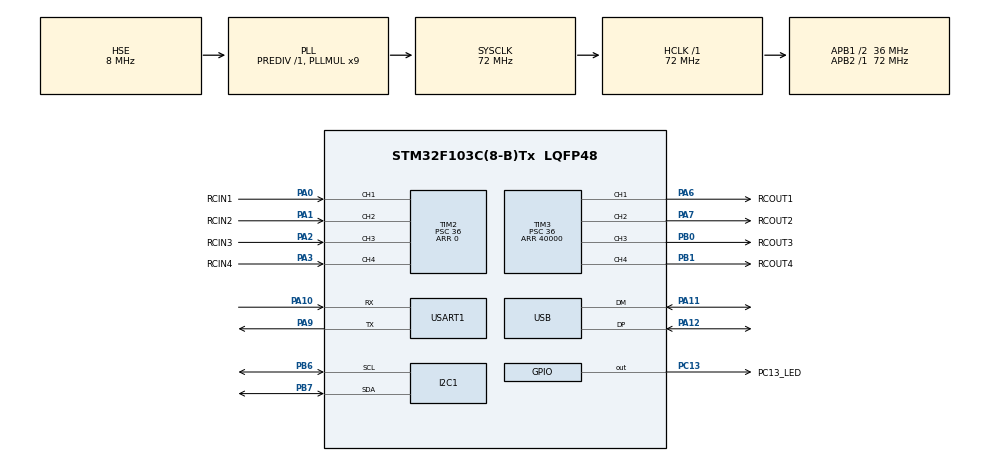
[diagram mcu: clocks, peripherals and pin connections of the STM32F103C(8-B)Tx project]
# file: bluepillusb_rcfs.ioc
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FREERTOS.Tasks01=defaultTask,24,128,StartDefaultTask,Default,NULL,Dynamic,NULL,NULL
I2C1.I2C_Mode=I2C_Fast
I2C1.OwnAddress=0x54
Mcu.Family=STM32F1
Mcu.Name=STM32F103C(8-B)Tx
Mcu.Package=LQFP48
NVIC.I2C1_ER_IRQn=true\:5\:0\:false\:false\:true\:true\:true\:true
NVIC.I2C1_EV_IRQn=true\:5\:0\:false\:false\:true\:true\:true\:true
NVIC.PriorityGroup=NVIC_PRIORITYGROUP_4
NVIC.TIM2_IRQn=true\:5\:0\:false\:false\:true\:true\:true\:true
NVIC.TIM4_IRQn=true\:0\:0\:false\:false\:true\:false\:false\:true
NVIC.TimeBase=TIM4_IRQn
NVIC.TimeBaseIP=TIM4
NVIC.USART1_IRQn=true\:5\:0\:false\:false\:true\:true\:true\:true
NVIC.USB_HP_CAN1_TX_IRQn=true\:5\:0\:false\:false\:true\:true\:true\:true
NVIC.USB_LP_CAN1_RX0_IRQn=true\:5\:0\:false\:false\:true\:true\:true\:true
PA0-WKUP.GPIO_Label=RCIN1
PA0-WKUP.Signal=S_TIM2_CH1_ETR
PA1.GPIO_Label=RCIN2
PA1.Signal=S_TIM2_CH2
PA10.Mode=Asynchronous
PA10.Signal=USART1_RX
PA11.Mode=Device
PA11.Signal=USB_DM
PA12.Mode=Device
PA12.Signal=USB_DP
PA13.Mode=Serial_Wire
PA13.Signal=SYS_JTMS-SWDIO
PA14.Mode=Serial_Wire
PA14.Signal=SYS_JTCK-SWCLK
PA2.GPIO_Label=RCIN3
PA2.Signal=S_TIM2_CH3
PA3.GPIO_Label=RCIN4
PA3.Signal=S_TIM2_CH4
PA6.GPIO_Label=RCOUT1
PA6.Signal=S_TIM3_CH1
PA7.GPIO_Label=RCOUT2
PA7.Signal=S_TIM3_CH2
PA9.Mode=Asynchronous
PA9.Signal=USART1_TX
PB0.GPIO_Label=RCOUT3
PB0.Signal=S_TIM3_CH3
PB1.GPIO_Label=RCOUT4
PB1.Signal=S_TIM3_CH4
PB6.Mode=I2C
PB6.Signal=I2C1_SCL
PB7.Mode=I2C
PB7.Signal=I2C1_SDA
PC13-TAMPER-RTC.GPIO_Label=PC13_LED
PC13-TAMPER-RTC.Signal=GPIO_Output
PC14-OSC32_IN.Mode=LSE-External-Oscillator
PC14-OSC32_IN.Signal=RCC_OSC32_IN
PC15-OSC32_OUT.Mode=LSE-External-Oscillator
PC15-OSC32_OUT.Signal=RCC_OSC32_OUT
PD0-OSC_IN.Mode=HSE-External-Oscillator
PD0-OSC_IN.Signal=RCC_OSC_IN
PD1-OSC_OUT.Mode=HSE-External-Oscillator
PD1-OSC_OUT.Signal=RCC_OSC_OUT
ProjectManager.HeapSize=0x200
ProjectManager.StackSize=0x400
ProjectManager.TargetToolchain=Makefile
RCC.ADCPresc=RCC_ADCPCLK2_DIV6
RCC.AHBFreq_Value=72000000
RCC.APB1CLKDivider=RCC_HCLK_DIV2
RCC.APB1Freq_Value=36000000
RCC.APB1TimFreq_Value=72000000
RCC.APB2Freq_Value=72000000
RCC.APB2TimFreq_Value=72000000
RCC.HCLKFreq_Value=72000000
RCC.PLLMUL=RCC_PLL_MUL9
RCC.SYSCLKFreq_VALUE=72000000
RCC.SYSCLKSource=RCC_SYSCLKSOURCE_PLLCLK
RCC.USBFreq_Value=48000000
RCC.USBPrescaler=RCC_USBCLKSOURCE_PLL_DIV1_5
SH.S_TIM2_CH1_ETR.0=TIM2_CH1,Input_Capture1_from_TI1
SH.S_TIM2_CH2.0=TIM2_CH2,Input_Capture2_from_TI2
SH.S_TIM2_CH3.0=TIM2_CH3,Input_Capture3_from_TI3
SH.S_TIM2_CH4.0=TIM2_CH4,Input_Capture4_from_TI4
SH.S_TIM3_CH1.0=TIM3_CH1,PWM Generation1 CH1
SH.S_TIM3_CH2.0=TIM3_CH2,PWM Generation2 CH2
SH.S_TIM3_CH3.0=TIM3_CH3,PWM Generation3 CH3
SH.S_TIM3_CH4.0=TIM3_CH4,PWM Generation4 CH4
TIM2.Channel-Input_Capture1_from_TI1=TIM_CHANNEL_1
TIM2.Channel-Input_Capture2_from_TI2=TIM_CHANNEL_2
TIM2.Channel-Input_Capture3_from_TI3=TIM_CHANNEL_3
TIM2.Channel-Input_Capture4_from_TI4=TIM_CHANNEL_4
TIM2.ICFilter_CH1=7
TIM2.ICFilter_CH2=7
TIM2.ICFilter_CH3=7
TIM2.ICFilter_CH4=7
TIM2.Period=0
TIM2.Prescaler=36
TIM3.Channel-PWM\ Generation1\ CH1=TIM_CHANNEL_1
TIM3.Channel-PWM\ Generation2\ CH2=TIM_CHANNEL_2
TIM3.Channel-PWM\ Generation3\ CH3=TIM_CHANNEL_3
TIM3.Channel-PWM\ Generation4\ CH4=TIM_CHANNEL_4
TIM3.Period=40000
TIM3.Prescaler=36
USART1.VirtualMode=VM_ASYNC
USB.low_power_enable=DISABLE
USB_DEVICE.CLASS_NAME_FS=CDC
USB_DEVICE.MANUFACTURER_STRING=NDN
USB_DEVICE.PRODUCT_STRING_CDC_FS=Bluepill ComPort
USB_DEVICE.VirtualMode=Cdc
USB_DEVICE.VirtualModeFS=Cdc_FS
VP_CRC_VS_CRC.Mode=CRC_Activate
VP_FREERTOS_VS_CMSIS_V2.Mode=CMSIS_V2
VP_RTC_VS_RTC_Activate.Mode=RTC_Enabled
VP_SYS_VS_tim4.Mode=TIM4
VP_TIM2_VS_ClockSourceINT.Mode=Internal
VP_TIM3_VS_ClockSourceINT.Mode=Internal
VP_USB_DEVICE_VS_USB_DEVICE_CDC_FS.Mode=CDC_FS
board=custom

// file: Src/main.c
/* USER CODE BEGIN Header */
/**
  ******************************************************************************
  * @file           : main.c
  * @brief          : Main program body
  ******************************************************************************
  * @attention
  *
  * <h2><center>&copy; Copyright (c) 2020 STMicroelectronics.
  * All rights reserved.</center></h2>
  *
  * This software component is licensed by ST under Ultimate Liberty license
  * SLA0044, the "License"; You may not use this file except in compliance with
  * the License. You may obtain a copy of the License at:
  *                             www.st.com/SLA0044
  *
  ******************************************************************************
  */
/* USER CODE END Header */

#include "main.h"
#include "cmsis_os.h"
#include "usb_device.h"
#include "usbd_cdc_if.h"

/* USER CODE BEGIN Includes */
#include <errno.h>
#include <unistd.h>
#include <stdio.h>

/* USER CODE END Includes */

CRC_HandleTypeDef hcrc;

I2C_HandleTypeDef hi2c1;

RTC_HandleTypeDef hrtc;

TIM_HandleTypeDef htim2;
TIM_HandleTypeDef htim3;

UART_HandleTypeDef huart1;

osThreadId_t defaultTaskHandle;
/* USER CODE BEGIN PV */
volatile uint16_t pulse[4];
volatile uint16_t pulseage[4] = { 100,100,100,100 };
/* USER CODE END PV */

void SystemClock_Config(void);
static void MX_GPIO_Init(void);
static void MX_CRC_Init(void);
static void MX_RTC_Init(void);
static void MX_TIM2_Init(void);
static void MX_TIM3_Init(void);
static void MX_USART1_UART_Init(void);
static void MX_I2C1_Init(void);
void StartDefaultTask(void *argument);

int main(void)
{

  /* MCU Configuration--------------------------------------------------------*/

  /* Reset of all peripherals, Initializes the Flash interface and the Systick. */
  HAL_Init();

  /* Configure the system clock */
  SystemClock_Config();

  /* Initialize all configured peripherals */
  MX_GPIO_Init();
  MX_CRC_Init();
  MX_RTC_Init();
  MX_TIM2_Init();
  MX_TIM3_Init();
  MX_USART1_UART_Init();
  MX_I2C1_Init();

  osKernelInitialize();

  /* Create the thread(s) */
  /* definition and creation of defaultTask */
  const osThreadAttr_t defaultTask_attributes = {
    .name = "defaultTask",
    .priority = (osPriority_t) osPriorityNormal,
    .stack_size = 128
  };
  defaultTaskHandle = osThreadNew(StartDefaultTask, NULL, &defaultTask_attributes);

  /* Start scheduler */
  osKernelStart();

  /* We should never get here as control is now taken by the scheduler */

  /* Infinite loop */
  while (1)
  {

  }
}

void SystemClock_Config(void)
{
  RCC_OscInitTypeDef RCC_OscInitStruct = {0};
  RCC_ClkInitTypeDef RCC_ClkInitStruct = {0};
  RCC_PeriphCLKInitTypeDef PeriphClkInit = {0};

  /** Initializes the CPU, AHB and APB busses clocks
  */
  RCC_OscInitStruct.OscillatorType = RCC_OSCILLATORTYPE_LSI|RCC_OSCILLATORTYPE_HSE;
  RCC_OscInitStruct.HSEState = RCC_HSE_ON;
  RCC_OscInitStruct.HSEPredivValue = RCC_HSE_PREDIV_DIV1;
  RCC_OscInitStruct.HSIState = RCC_HSI_ON;
  RCC_OscInitStruct.LSIState = RCC_LSI_ON;
  RCC_OscInitStruct.PLL.PLLState = RCC_PLL_ON;
  RCC_OscInitStruct.PLL.PLLSource = RCC_PLLSOURCE_HSE;
  RCC_OscInitStruct.PLL.PLLMUL = RCC_PLL_MUL9;
  if (HAL_RCC_OscConfig(&RCC_OscInitStruct) != HAL_OK)
  {
    Error_Handler();
  }
  /** Initializes the CPU, AHB and APB busses clocks
  */
  RCC_ClkInitStruct.ClockType = RCC_CLOCKTYPE_HCLK|RCC_CLOCKTYPE_SYSCLK
                              |RCC_CLOCKTYPE_PCLK1|RCC_CLOCKTYPE_PCLK2;
  RCC_ClkInitStruct.SYSCLKSource = RCC_SYSCLKSOURCE_PLLCLK;
  RCC_ClkInitStruct.AHBCLKDivider = RCC_SYSCLK_DIV1;
  RCC_ClkInitStruct.APB1CLKDivider = RCC_HCLK_DIV2;
  RCC_ClkInitStruct.APB2CLKDivider = RCC_HCLK_DIV1;

  if (HAL_RCC_ClockConfig(&RCC_ClkInitStruct, FLASH_LATENCY_2) != HAL_OK)
  {
    Error_Handler();
  }
  PeriphClkInit.PeriphClockSelection = RCC_PERIPHCLK_RTC|RCC_PERIPHCLK_USB;
  PeriphClkInit.RTCClockSelection = RCC_RTCCLKSOURCE_LSI;
  PeriphClkInit.UsbClockSelection = RCC_USBCLKSOURCE_PLL_DIV1_5;
  if (HAL_RCCEx_PeriphCLKConfig(&PeriphClkInit) != HAL_OK)
  {
    Error_Handler();
  }
}

static void MX_CRC_Init(void)
{

  hcrc.Instance = CRC;
  if (HAL_CRC_Init(&hcrc) != HAL_OK)
  {
    Error_Handler();
  }

}

static void MX_I2C1_Init(void)
{

  hi2c1.Instance = I2C1;
  hi2c1.Init.ClockSpeed = 400000;
  hi2c1.Init.DutyCycle = I2C_DUTYCYCLE_2;
  hi2c1.Init.OwnAddress1 = 168;
  hi2c1.Init.AddressingMode = I2C_ADDRESSINGMODE_7BIT;
  hi2c1.Init.DualAddressMode = I2C_DUALADDRESS_DISABLE;
  hi2c1.Init.OwnAddress2 = 0;
  hi2c1.Init.GeneralCallMode = I2C_GENERALCALL_DISABLE;
  hi2c1.Init.NoStretchMode = I2C_NOSTRETCH_DISABLE;
  if (HAL_I2C_Init(&hi2c1) != HAL_OK)
  {
    Error_Handler();
  }

}

static void MX_RTC_Init(void)
{

  /** Initialize RTC Only
  */
  hrtc.Instance = RTC;
  hrtc.Init.AsynchPrediv = RTC_AUTO_1_SECOND;
  hrtc.Init.OutPut = RTC_OUTPUTSOURCE_ALARM;
  if (HAL_RTC_Init(&hrtc) != HAL_OK)
  {
    Error_Handler();
  }

}

static void MX_TIM2_Init(void)
{

  TIM_ClockConfigTypeDef sClockSourceConfig = {0};
  TIM_MasterConfigTypeDef sMasterConfig = {0};
  TIM_IC_InitTypeDef sConfigIC = {0};

  htim2.Instance = TIM2;
  htim2.Init.Prescaler = 72;
  htim2.Init.CounterMode = TIM_COUNTERMODE_UP;
  htim2.Init.Period = 65535;
  htim2.Init.ClockDivision = TIM_CLOCKDIVISION_DIV1;
  htim2.Init.AutoReloadPreload = TIM_AUTORELOAD_PRELOAD_DISABLE;
  if (HAL_TIM_Base_Init(&htim2) != HAL_OK)
  {
    Error_Handler();
  }
  sClockSourceConfig.ClockSource = TIM_CLOCKSOURCE_INTERNAL;
  if (HAL_TIM_ConfigClockSource(&htim2, &sClockSourceConfig) != HAL_OK)
  {
    Error_Handler();
  }
  if (HAL_TIM_IC_Init(&htim2) != HAL_OK)
  {
    Error_Handler();
  }
  sMasterConfig.MasterOutputTrigger = TIM_TRGO_RESET;
  sMasterConfig.MasterSlaveMode = TIM_MASTERSLAVEMODE_DISABLE;
  if (HAL_TIMEx_MasterConfigSynchronization(&htim2, &sMasterConfig) != HAL_OK)
  {
    Error_Handler();
  }
  sConfigIC.ICPolarity = TIM_INPUTCHANNELPOLARITY_RISING;
  sConfigIC.ICSelection = TIM_ICSELECTION_DIRECTTI;
  sConfigIC.ICPrescaler = TIM_ICPSC_DIV1;
  sConfigIC.ICFilter = 7;
  if (HAL_TIM_IC_ConfigChannel(&htim2, &sConfigIC, TIM_CHANNEL_1) != HAL_OK)
  {
    Error_Handler();
  }
  if (HAL_TIM_IC_ConfigChannel(&htim2, &sConfigIC, TIM_CHANNEL_2) != HAL_OK)
  {
    Error_Handler();
  }
  if (HAL_TIM_IC_ConfigChannel(&htim2, &sConfigIC, TIM_CHANNEL_3) != HAL_OK)
  {
    Error_Handler();
  }
  if (HAL_TIM_IC_ConfigChannel(&htim2, &sConfigIC, TIM_CHANNEL_4) != HAL_OK)
  {
    Error_Handler();
  }
  /* USER CODE BEGIN TIM2_Init 2 */
  HAL_TIM_IC_Start_IT(&htim2, TIM_CHANNEL_1);
  HAL_TIM_IC_Start_IT(&htim2, TIM_CHANNEL_2);
  HAL_TIM_IC_Start_IT(&htim2, TIM_CHANNEL_3);
  HAL_TIM_IC_Start_IT(&htim2, TIM_CHANNEL_4);
  /* USER CODE END TIM2_Init 2 */

}

static void MX_TIM3_Init(void)
{

  TIM_ClockConfigTypeDef sClockSourceConfig = {0};
  TIM_MasterConfigTypeDef sMasterConfig = {0};
  TIM_OC_InitTypeDef sConfigOC = {0};

  htim3.Instance = TIM3;
  htim3.Init.Prescaler = 72;
  htim3.Init.CounterMode = TIM_COUNTERMODE_UP;
  htim3.Init.Period = 20000;
  htim3.Init.ClockDivision = TIM_CLOCKDIVISION_DIV1;
  htim3.Init.AutoReloadPreload = TIM_AUTORELOAD_PRELOAD_DISABLE;
  if (HAL_TIM_Base_Init(&htim3) != HAL_OK)
  {
    Error_Handler();
  }
  sClockSourceConfig.ClockSource = TIM_CLOCKSOURCE_INTERNAL;
  if (HAL_TIM_ConfigClockSource(&htim3, &sClockSourceConfig) != HAL_OK)
  {
    Error_Handler();
  }
  if (HAL_TIM_PWM_Init(&htim3) != HAL_OK)
  {
    Error_Handler();
  }
  sMasterConfig.MasterOutputTrigger = TIM_TRGO_RESET;
  sMasterConfig.MasterSlaveMode = TIM_MASTERSLAVEMODE_DISABLE;
  if (HAL_TIMEx_MasterConfigSynchronization(&htim3, &sMasterConfig) != HAL_OK)
  {
    Error_Handler();
  }
  sConfigOC.OCMode = TIM_OCMODE_PWM1;
  sConfigOC.Pulse = 1000;
  sConfigOC.OCPolarity = TIM_OCPOLARITY_HIGH;
  sConfigOC.OCFastMode = TIM_OCFAST_DISABLE;
  if (HAL_TIM_PWM_ConfigChannel(&htim3, &sConfigOC, TIM_CHANNEL_1) != HAL_OK)
  {
    Error_Handler();
  }
  if (HAL_TIM_PWM_ConfigChannel(&htim3, &sConfigOC, TIM_CHANNEL_2) != HAL_OK)
  {
    Error_Handler();
  }
  if (HAL_TIM_PWM_ConfigChannel(&htim3, &sConfigOC, TIM_CHANNEL_3) != HAL_OK)
  {
    Error_Handler();
  }
  if (HAL_TIM_PWM_ConfigChannel(&htim3, &sConfigOC, TIM_CHANNEL_4) != HAL_OK)
  {
    Error_Handler();
  }
  /* USER CODE BEGIN TIM3_Init 2 */
  HAL_TIM_PWM_Start(&htim3, TIM_CHANNEL_1);
  HAL_TIM_PWM_Start(&htim3, TIM_CHANNEL_2);
  HAL_TIM_PWM_Start(&htim3, TIM_CHANNEL_3);
  HAL_TIM_PWM_Start(&htim3, TIM_CHANNEL_4);
  /* USER CODE END TIM3_Init 2 */
  HAL_TIM_MspPostInit(&htim3);
}

static void MX_USART1_UART_Init(void)
{

  huart1.Instance = USART1;
  huart1.Init.BaudRate = 115200;
  huart1.Init.WordLength = UART_WORDLENGTH_8B;
  huart1.Init.StopBits = UART_STOPBITS_1;
  huart1.Init.Parity = UART_PARITY_NONE;
  huart1.Init.Mode = UART_MODE_TX_RX;
  huart1.Init.HwFlowCtl = UART_HWCONTROL_NONE;
  huart1.Init.OverSampling = UART_OVERSAMPLING_16;
  if (HAL_UART_Init(&huart1) != HAL_OK)
  {
    Error_Handler();
  }

}

static void MX_GPIO_Init(void)
{
  GPIO_InitTypeDef GPIO_InitStruct = {0};

  /* GPIO Ports Clock Enable */
  __HAL_RCC_GPIOC_CLK_ENABLE();
  __HAL_RCC_GPIOD_CLK_ENABLE();
  __HAL_RCC_GPIOA_CLK_ENABLE();
  __HAL_RCC_GPIOB_CLK_ENABLE();

  /*Configure GPIO pin Output Level */
  HAL_GPIO_WritePin(PC13_LED_GPIO_Port, PC13_LED_Pin, GPIO_PIN_RESET);

  /*Configure GPIO pin : PC13_LED_Pin */
  GPIO_InitStruct.Pin = PC13_LED_Pin;
  GPIO_InitStruct.Mode = GPIO_MODE_OUTPUT_PP;
  GPIO_InitStruct.Pull = GPIO_NOPULL;
  GPIO_InitStruct.Speed = GPIO_SPEED_FREQ_LOW;
  HAL_GPIO_Init(PC13_LED_GPIO_Port, &GPIO_InitStruct);

}

/* USER CODE BEGIN 4 */
int _write(int file, char *data, int len) {
  if ((file != STDOUT_FILENO) && (file != STDERR_FILENO)) {
    errno = EBADF;
    return -1;
  }
#ifdef SERIAL_DEBUG
  int left = len;
  while (left--) {
    while (!__HAL_UART_GET_FLAG(&huart1, UART_FLAG_TXE));
    huart1.Instance->DR = *(data++);
  }

  while (!__HAL_UART_GET_FLAG(&huart1, UART_FLAG_TXE));
  while (!__HAL_UART_GET_FLAG(&huart1, UART_FLAG_TC));
#else // console over usb
  CDC_Transmit_FS((uint8_t*)data, len);
#endif
  return len;
}

static int debugout = 0;
int pwmFromUSB[4] = {1500,1500,1500,1500};
int pwmFromUSBAge = 100;
void usbLineIn(char *l)
{
  int a,b,c,d;
  if (*l == 'D')
    debugout = !debugout;

#if 1
    if ( 2 == sscanf(l,"CH%d=%d", &a, &b)) {
      if ((a > 0) && (a < 5) && (b >= 900) && (b <=2100)) {
        pwmFromUSB[a] = b;
        pwmFromUSBAge = 0;
      }
    }
#else
    if ( 4 == sscanf(l,"%d %d %d %d", &a, &b, &c, &d)) {
    if ((a > 900) && (a < 2100)) pwmFromUSB[0] = a; else pwmFromUSB[0] = 1500;
    if ((b > 900) && (b < 2100)) pwmFromUSB[1] = b; else pwmFromUSB[1] = 1500;
    if ((c > 900) && (c < 2100)) pwmFromUSB[2] = c; else pwmFromUSB[2] = 1500;
    if ((d > 900) && (b < 2100)) pwmFromUSB[3] = d; else pwmFromUSB[3] = 1500;
    pwmFromUSBAge = 0;
#endif
    }
}

#define INPUTLEN 32

void usbInputCallback(uint8_t b)
{
  static char inputline[INPUTLEN];
  static int  inputlen = 0;

  if ((b == '\r') || (b == '\n')) {
    inputline[inputlen] = 0; // ensure NUL
    if (inputlen) usbLineIn((char*)&inputline);
    inputlen = 0;
  } else if (inputlen < (INPUTLEN - 1)) {
    inputline[inputlen++] = b;
  }
}

uint8_t uartbyte;

void HAL_UART_RxCpltCallback(UART_HandleTypeDef *huart)
{
  if (huart == &huart1) {
    static char inputline[INPUTLEN];
    static int  inputlen = 0;
    char b  = (char)uartbyte;
    if ((b == '\r') || (b == '\n')) {
      inputline[inputlen] = 0; // ensure NUL
      if (inputlen) usbLineIn((char*)&inputline);
      inputlen = 0;
    } else if (inputlen < (INPUTLEN - 1)) {
      inputline[inputlen++] = b;
    }

    HAL_UART_Receive_IT(huart, &uartbyte, 1);

  }
}

volatile int tim2ints = 0;

void HAL_TIM_IC_CaptureCallback(TIM_HandleTypeDef *htim)
{
  HAL_GPIO_WritePin(PC13_LED_GPIO_Port, PC13_LED_Pin, GPIO_PIN_RESET);
  static uint16_t pulsestart[4] = {0};
  if (htim == &htim2) {
    switch (htim->Channel) {
    case HAL_TIM_ACTIVE_CHANNEL_1:
      if (htim->Instance->CCER & TIM_CCER_CC1P) {
	pulse[0] = htim->Instance->CCR1 - pulsestart[0];
	pulseage[0] = 0;
	htim->Instance->CCER &= ~TIM_CCER_CC1P;
      } else {
	pulsestart[0] = htim->Instance->CCR1;
	htim->Instance->CCER |= TIM_CCER_CC1P;
      }
      break;
    case HAL_TIM_ACTIVE_CHANNEL_2:
      if (htim->Instance->CCER & TIM_CCER_CC2P) {
	pulse[1] = htim->Instance->CCR2 - pulsestart[1];
	pulseage[1] = 0;
	htim->Instance->CCER &= ~TIM_CCER_CC2P;
      } else {
	pulsestart[1] = htim->Instance->CCR2;
	htim->Instance->CCER |= TIM_CCER_CC2P;
      }
      break;
    case HAL_TIM_ACTIVE_CHANNEL_3:
      if (htim->Instance->CCER & TIM_CCER_CC3P) {
	pulse[2] = htim->Instance->CCR3 - pulsestart[2];
	pulseage[2] = 0;
	htim->Instance->CCER &= ~TIM_CCER_CC3P;
      } else {
	pulsestart[2] = htim->Instance->CCR3;
	htim->Instance->CCER |= TIM_CCER_CC3P;
      }
      break;
    case HAL_TIM_ACTIVE_CHANNEL_4:
      if (htim->Instance->CCER & TIM_CCER_CC4P) {
	pulse[3] = htim->Instance->CCR4 - pulsestart[3];
	pulseage[3] = 0;
	htim->Instance->CCER &= ~TIM_CCER_CC4P;
      } else {
	pulsestart[3] = htim->Instance->CCR4;
	htim->Instance->CCER |= TIM_CCER_CC4P;
      }
      break;
    default:
      break;
    }
  }
  HAL_GPIO_WritePin(PC13_LED_GPIO_Port, PC13_LED_Pin, GPIO_PIN_SET);
}

/* USER CODE END 4 */

void StartDefaultTask(void *argument)
{
  /* init code for USB_DEVICE */
  MX_USB_DEVICE_Init();
  /* USER CODE BEGIN 5 */
  static int overridetimer = 0; // normal mode
  HAL_UART_Receive_IT(&huart1, &uartbyte, 1);

  /* Infinite loop */
  for(;;)
    {
      osDelay(10);
      // combined RC age
      int pulseagemax = (pulseage[0] > pulseage[1])?pulseage[0]:pulseage[1];
      pulseagemax = (pulseage[2] > pulseagemax)?pulseage[2]:pulseagemax;
      pulseagemax = (pulseage[3] > pulseagemax)?pulseage[3]:pulseagemax;

      if ((pulseagemax < 100) && ((pulse[0] < 1400) || (pulse[0] > 1600)))
	overridetimer = 500;

      if ((!overridetimer) && (pwmFromUSBAge < 100)) {
	htim3.Instance->CCR1 = pwmFromUSB[0];
	htim3.Instance->CCR2 = pwmFromUSB[1];
	htim3.Instance->CCR3 = pwmFromUSB[2];
	htim3.Instance->CCR4 = pwmFromUSB[3];
      } else if (pulseagemax < 100) {
	htim3.Instance->CCR1 = pulse[0];
	htim3.Instance->CCR2 = pulse[1];
	htim3.Instance->CCR3 = pulse[2];
	htim3.Instance->CCR4 = pulse[3];
      } else {
	htim3.Instance->CCR1 = 1500;
	htim3.Instance->CCR2 = 1500;
	htim3.Instance->CCR3 = 1500;
	htim3.Instance->CCR4 = 1500;
      }

      // Increase all ages
      if (pulseage[0] < 1000) pulseage[0]++;
      if (pulseage[1] < 1000) pulseage[1]++;
      if (pulseage[2] < 1000) pulseage[2]++;
      if (pulseage[3] < 1000) pulseage[3]++;
      if (pwmFromUSBAge < 1000) pwmFromUSBAge++;
      if (overridetimer) overridetimer--;

      if  (debugout) {
	static int debugcnt = 0;
	if (debugcnt++ > 10) {
	  debugcnt = 0;
	  printf("USB: age %d pulses %d %d %d %d\r\n",
		 pwmFromUSBAge, pwmFromUSB[0],pwmFromUSB[1],pwmFromUSB[2],pwmFromUSB[3]);
	  printf("PWM: age %d pulses %d %d %d %d\r\n",
		 pulseagemax, pulse[0], pulse[1], pulse[2], pulse[3]);
	  printf("OUT: %lu %lu %lu %lu\r\n",
		 htim3.Instance->CCR1, htim3.Instance->CCR2,
		 htim3.Instance->CCR3, htim3.Instance->CCR4);
	}
      }
    }
  /* USER CODE END 5 */
}

void HAL_TIM_PeriodElapsedCallback(TIM_HandleTypeDef *htim)
{
  if (htim->Instance == TIM4) {
    HAL_IncTick();
  }
}

void Error_Handler(void)
{
}

/************************ (C) COPYRIGHT STMicroelectronics *****END OF FILE****/
